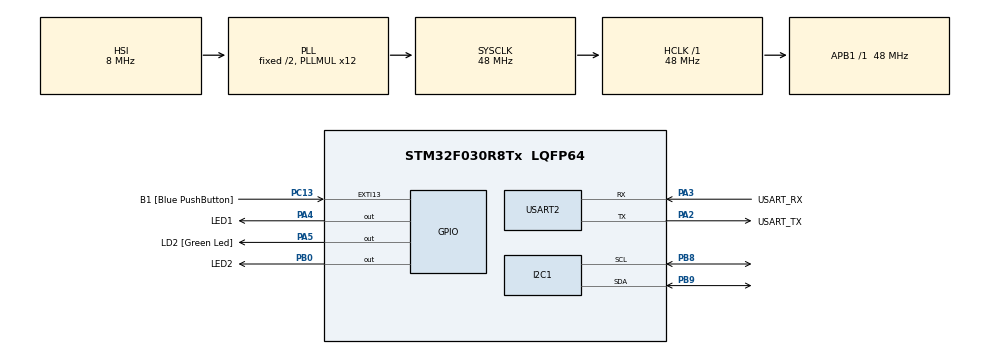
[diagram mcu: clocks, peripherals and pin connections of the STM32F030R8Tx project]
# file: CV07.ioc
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FREERTOS.Queues01=xVisualQueue,16,int16_t,0,Dynamic,NULL,NULL
FREERTOS.Tasks01=defaultTask,0,128,StartDefaultTask,Default,NULL,Dynamic,NULL,NULL;VisualTask,0,128,StartVisualTask,Default,NULL,Dynamic,NULL,NULL;AcceleroTask,0,128,StartAcceleroTask,Default,NULL,Dynamic,NULL,NULL
FREERTOS.configUSE_NEWLIB_REENTRANT=1
Mcu.Family=STM32F0
Mcu.Name=STM32F030R8Tx
Mcu.Package=LQFP64
NVIC.TIM14_IRQn=true\:3\:0\:false\:false\:true\:false\:false\:true\:true
NVIC.TimeBase=TIM14_IRQn
NVIC.TimeBaseIP=TIM14
PA13.GPIO_Label=TMS
PA13.Mode=Serial_Wire
PA13.Signal=SYS_SWDIO
PA14.GPIO_Label=TCK
PA14.Mode=Serial_Wire
PA14.Signal=SYS_SWCLK
PA2.GPIO_Label=USART_TX
PA2.GPIO_Mode=GPIO_MODE_AF_PP
PA2.GPIO_PuPd=GPIO_NOPULL
PA2.GPIO_Speed=GPIO_SPEED_FREQ_LOW
PA2.Mode=Asynchronous
PA2.Signal=USART2_TX
PA3.GPIO_Label=USART_RX
PA3.GPIO_Mode=GPIO_MODE_AF_PP
PA3.GPIO_PuPd=GPIO_NOPULL
PA3.GPIO_Speed=GPIO_SPEED_FREQ_LOW
PA3.Mode=Asynchronous
PA3.Signal=USART2_RX
PA4.GPIO_Label=LED1
PA4.Signal=GPIO_Output
PA5.GPIO_Label=LD2 [Green Led]
PA5.GPIO_Mode=GPIO_MODE_OUTPUT_PP
PA5.GPIO_PuPd=GPIO_NOPULL
PA5.GPIO_Speed=GPIO_SPEED_FREQ_LOW
PA5.Signal=GPIO_Output
PB0.GPIO_Label=LED2
PB0.Signal=GPIO_Output
PB8.Mode=I2C
PB8.Signal=I2C1_SCL
PB9.Mode=I2C
PB9.Signal=I2C1_SDA
PC13.GPIO_Label=B1 [Blue PushButton]
PC13.GPIO_ModeDefaultEXTI=GPIO_MODE_IT_FALLING
PC13.Signal=GPXTI13
PC14-OSC32_IN.Mode=LSE-External-Oscillator
PC14-OSC32_IN.Signal=RCC_OSC32_IN
PC15-OSC32_OUT.Mode=LSE-External-Oscillator
PC15-OSC32_OUT.Signal=RCC_OSC32_OUT
PF0-OSC_IN.Mode=HSE-External-Clock-Source
PF0-OSC_IN.Signal=RCC_OSC_IN
PF1-OSC_OUT.Signal=RCC_OSC_OUT
ProjectManager.HeapSize=0x200
ProjectManager.StackSize=0x400
ProjectManager.TargetToolchain=STM32CubeIDE
RCC.AHBFreq_Value=48000000
RCC.APB1Freq_Value=48000000
RCC.APB1TimFreq_Value=48000000
RCC.HCLKFreq_Value=48000000
RCC.PLLMUL=RCC_PLL_MUL12
RCC.SYSCLKFreq_VALUE=48000000
RCC.SYSCLKSource=RCC_SYSCLKSOURCE_PLLCLK
USART2.VirtualMode-Asynchronous=VM_ASYNC
VP_FREERTOS_VS_CMSIS_V1.Mode=CMSIS_V1
VP_SYS_VS_tim14.Mode=TIM14
board=NUCLEO-F030R8

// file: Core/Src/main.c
/* USER CODE BEGIN Header */
/**
  ******************************************************************************
  * @file           : main.c
  * @brief          : Main program body
  ******************************************************************************
  * @attention
  *
  * Copyright (c) 2022 STMicroelectronics.
  * All rights reserved.
  *
  * This software is licensed under terms that can be found in the LICENSE file
  * in the root directory of this software component.
  * If no LICENSE file comes with this software, it is provided AS-IS.
  *
  ******************************************************************************
  */
/* USER CODE END Header */
#include <lis2dw12_reg.h>
#include "main.h"
#include "cmsis_os.h"

/* USER CODE BEGIN Includes */
#include "lis2dw12_reg.h"
#include <stdio.h>

/* USER CODE END Includes */

/* USER CODE BEGIN PD */
#define UART_DELAY 1000
/* USER CODE END PD */

I2C_HandleTypeDef hi2c1;

UART_HandleTypeDef huart2;

osThreadId defaultTaskHandle;
osThreadId VisualTaskHandle;
osThreadId AcceleroTaskHandle;
osMessageQId xVisualQueueHandle;

void SystemClock_Config(void);
static void MX_GPIO_Init(void);
static void MX_USART2_UART_Init(void);
static void MX_I2C1_Init(void);
void StartDefaultTask(void const * argument);
void StartVisualTask(void const * argument);
void StartAcceleroTask(void const * argument);

/* USER CODE BEGIN 0 */
int _write(int file, char const *buf, int n) {
	/* stdout redirection to UART2 */
	HAL_UART_Transmit(&huart2, (uint8_t*) (buf), n, HAL_MAX_DELAY);
	return n;
}

static int32_t platform_write(void *handle, uint8_t reg, const uint8_t *bufp, uint16_t len);
static int32_t platform_read(void *handle, uint8_t reg, uint8_t *bufp, uint16_t len);
static stmdev_ctx_t lis2dw12 = {
 .write_reg = platform_write,
 .read_reg = platform_read,
 .handle = &hi2c1,
};

static int32_t platform_write(void *handle, uint8_t reg, const uint8_t *bufp, uint16_t len)
{
 HAL_I2C_Mem_Write(handle, LIS2DW12_I2C_ADD_H, reg, I2C_MEMADD_SIZE_8BIT, (uint8_t*)bufp, len, 1000);
 return 0;
}
static int32_t platform_read(void *handle, uint8_t reg, uint8_t *bufp, uint16_t len)
{
 HAL_I2C_Mem_Read(handle, LIS2DW12_I2C_ADD_H, reg, I2C_MEMADD_SIZE_8BIT, bufp, len, 1000);
 return 0;
}

/* USER CODE END 0 */

int main(void)
{

  /* MCU Configuration--------------------------------------------------------*/

  /* Reset of all peripherals, Initializes the Flash interface and the Systick. */
  HAL_Init();

  /* Configure the system clock */
  SystemClock_Config();

  /* Initialize all configured peripherals */
  MX_GPIO_Init();
  MX_USART2_UART_Init();
  MX_I2C1_Init();

  /* Create the queue(s) */
  /* definition and creation of xVisualQueue */
  osMessageQDef(xVisualQueue, 16, int16_t);
  xVisualQueueHandle = osMessageCreate(osMessageQ(xVisualQueue), NULL);

  /* Create the thread(s) */
  /* definition and creation of defaultTask */
  osThreadDef(defaultTask, StartDefaultTask, osPriorityNormal, 0, 128);
  defaultTaskHandle = osThreadCreate(osThread(defaultTask), NULL);

  /* definition and creation of VisualTask */
  osThreadDef(VisualTask, StartVisualTask, osPriorityNormal, 0, 128);
  VisualTaskHandle = osThreadCreate(osThread(VisualTask), NULL);

  /* definition and creation of AcceleroTask */
  osThreadDef(AcceleroTask, StartAcceleroTask, osPriorityNormal, 0, 128);
  AcceleroTaskHandle = osThreadCreate(osThread(AcceleroTask), NULL);

  /* Start scheduler */
  osKernelStart();

  /* We should never get here as control is now taken by the scheduler */
  /* Infinite loop */
  while (1)
  {

  }
}

void SystemClock_Config(void)
{
  RCC_OscInitTypeDef RCC_OscInitStruct = {0};
  RCC_ClkInitTypeDef RCC_ClkInitStruct = {0};
  RCC_PeriphCLKInitTypeDef PeriphClkInit = {0};

  /** Initializes the RCC Oscillators according to the specified parameters
  * in the RCC_OscInitTypeDef structure.
  */
  RCC_OscInitStruct.OscillatorType = RCC_OSCILLATORTYPE_HSI;
  RCC_OscInitStruct.HSIState = RCC_HSI_ON;
  RCC_OscInitStruct.HSICalibrationValue = RCC_HSICALIBRATION_DEFAULT;
  RCC_OscInitStruct.PLL.PLLState = RCC_PLL_ON;
  RCC_OscInitStruct.PLL.PLLSource = RCC_PLLSOURCE_HSI;
  RCC_OscInitStruct.PLL.PLLMUL = RCC_PLL_MUL12;
  RCC_OscInitStruct.PLL.PREDIV = RCC_PREDIV_DIV1;
  if (HAL_RCC_OscConfig(&RCC_OscInitStruct) != HAL_OK)
  {
    Error_Handler();
  }

  /** Initializes the CPU, AHB and APB buses clocks
  */
  RCC_ClkInitStruct.ClockType = RCC_CLOCKTYPE_HCLK|RCC_CLOCKTYPE_SYSCLK
                              |RCC_CLOCKTYPE_PCLK1;
  RCC_ClkInitStruct.SYSCLKSource = RCC_SYSCLKSOURCE_PLLCLK;
  RCC_ClkInitStruct.AHBCLKDivider = RCC_SYSCLK_DIV1;
  RCC_ClkInitStruct.APB1CLKDivider = RCC_HCLK_DIV1;

  if (HAL_RCC_ClockConfig(&RCC_ClkInitStruct, FLASH_LATENCY_1) != HAL_OK)
  {
    Error_Handler();
  }
  PeriphClkInit.PeriphClockSelection = RCC_PERIPHCLK_I2C1;
  PeriphClkInit.I2c1ClockSelection = RCC_I2C1CLKSOURCE_HSI;
  if (HAL_RCCEx_PeriphCLKConfig(&PeriphClkInit) != HAL_OK)
  {
    Error_Handler();
  }
}

static void MX_I2C1_Init(void)
{

  hi2c1.Instance = I2C1;
  hi2c1.Init.Timing = 0x2000090E;
  hi2c1.Init.OwnAddress1 = 0;
  hi2c1.Init.AddressingMode = I2C_ADDRESSINGMODE_7BIT;
  hi2c1.Init.DualAddressMode = I2C_DUALADDRESS_DISABLE;
  hi2c1.Init.OwnAddress2 = 0;
  hi2c1.Init.OwnAddress2Masks = I2C_OA2_NOMASK;
  hi2c1.Init.GeneralCallMode = I2C_GENERALCALL_DISABLE;
  hi2c1.Init.NoStretchMode = I2C_NOSTRETCH_DISABLE;
  if (HAL_I2C_Init(&hi2c1) != HAL_OK)
  {
    Error_Handler();
  }

  /** Configure Analogue filter
  */
  if (HAL_I2CEx_ConfigAnalogFilter(&hi2c1, I2C_ANALOGFILTER_ENABLE) != HAL_OK)
  {
    Error_Handler();
  }

  /** Configure Digital filter
  */
  if (HAL_I2CEx_ConfigDigitalFilter(&hi2c1, 0) != HAL_OK)
  {
    Error_Handler();
  }

}

static void MX_USART2_UART_Init(void)
{

  huart2.Instance = USART2;
  huart2.Init.BaudRate = 38400;
  huart2.Init.WordLength = UART_WORDLENGTH_8B;
  huart2.Init.StopBits = UART_STOPBITS_1;
  huart2.Init.Parity = UART_PARITY_NONE;
  huart2.Init.Mode = UART_MODE_TX_RX;
  huart2.Init.HwFlowCtl = UART_HWCONTROL_NONE;
  huart2.Init.OverSampling = UART_OVERSAMPLING_16;
  huart2.Init.OneBitSampling = UART_ONE_BIT_SAMPLE_DISABLE;
  huart2.AdvancedInit.AdvFeatureInit = UART_ADVFEATURE_NO_INIT;
  if (HAL_UART_Init(&huart2) != HAL_OK)
  {
    Error_Handler();
  }

}

static void MX_GPIO_Init(void)
{
  GPIO_InitTypeDef GPIO_InitStruct = {0};

  /* GPIO Ports Clock Enable */
  __HAL_RCC_GPIOC_CLK_ENABLE();
  __HAL_RCC_GPIOF_CLK_ENABLE();
  __HAL_RCC_GPIOA_CLK_ENABLE();
  __HAL_RCC_GPIOB_CLK_ENABLE();

  /*Configure GPIO pin Output Level */
  HAL_GPIO_WritePin(GPIOA, GPIO_PIN_4|GPIO_PIN_5, GPIO_PIN_RESET);

  /*Configure GPIO pin Output Level */
  HAL_GPIO_WritePin(GPIOB, GPIO_PIN_0, GPIO_PIN_RESET);

  /*Configure GPIO pin : PC13 */
  GPIO_InitStruct.Pin = GPIO_PIN_13;
  GPIO_InitStruct.Mode = GPIO_MODE_IT_FALLING;
  GPIO_InitStruct.Pull = GPIO_NOPULL;
  HAL_GPIO_Init(GPIOC, &GPIO_InitStruct);

  /*Configure GPIO pins : PA4 PA5 */
  GPIO_InitStruct.Pin = GPIO_PIN_4|GPIO_PIN_5;
  GPIO_InitStruct.Mode = GPIO_MODE_OUTPUT_PP;
  GPIO_InitStruct.Pull = GPIO_NOPULL;
  GPIO_InitStruct.Speed = GPIO_SPEED_FREQ_LOW;
  HAL_GPIO_Init(GPIOA, &GPIO_InitStruct);

  /*Configure GPIO pin : PB0 */
  GPIO_InitStruct.Pin = GPIO_PIN_0;
  GPIO_InitStruct.Mode = GPIO_MODE_OUTPUT_PP;
  GPIO_InitStruct.Pull = GPIO_NOPULL;
  GPIO_InitStruct.Speed = GPIO_SPEED_FREQ_LOW;
  HAL_GPIO_Init(GPIOB, &GPIO_InitStruct);

}

void StartDefaultTask(void const *argument) {
	/* USER CODE BEGIN 5 */
	/* Infinite loop */
	for (;;) {

	/*	msg = -5000;
		xQueueSend(xVisualQueueHandle, &msg, 0);
		osDelay(300);

		msg = 0;
		xQueueSend(xVisualQueueHandle, &msg, 0);
		osDelay(300);

		msg = 5000;
		xQueueSend(xVisualQueueHandle, &msg, 0);
		osDelay(300);

		msg = 0;
		xQueueSend(xVisualQueueHandle, &msg, 0);
		osDelay(300);
*/
	/*	const uint16_t msg[4] = {-5000, 0, 5000, 0};

		for (uint8_t i = 0; i < 4; i++) {  // kratke cekani
		xQueueSend(xVisualQueueHandle, &msg[i], 0);
		osDelay(300);
		} */
	}
	/* USER CODE END 5 */
}

void StartVisualTask(void const *argument) {
	/* USER CODE BEGIN StartVisualTask */
	/* Infinite loop */

	for(;;){

		int16_t msg;
		if (xQueueReceive(xVisualQueueHandle, &msg, portMAX_DELAY)) {
			if (msg <= -1000) {
				HAL_GPIO_WritePin(LED1_GPIO_Port, LED1_Pin, 1);
				HAL_GPIO_WritePin(LED2_GPIO_Port, LED2_Pin, 0);
			}

			else if (msg >= 1000) {
			    HAL_GPIO_WritePin(LED1_GPIO_Port, LED1_Pin, 0);
			    HAL_GPIO_WritePin(LED2_GPIO_Port, LED2_Pin, 1);
			}

			else {
			    HAL_GPIO_WritePin(LED1_GPIO_Port, LED1_Pin, 0);
			    HAL_GPIO_WritePin(LED2_GPIO_Port, LED2_Pin, 0);
			}
		}

		osDelay(1);
	}
	/* USER CODE END StartVisualTask */
}

void StartAcceleroTask(void const * argument)
{
  /* USER CODE BEGIN StartAcceleroTask */

	// Check device ID
	uint8_t whoamI = 0;
	lis2dw12_device_id_get(&lis2dw12, &whoamI);
	printf("LIS2DW12_ID %s\n", (whoamI == LIS2DW12_ID) ? "OK" : "FAIL");

	lis2dw12_full_scale_set(&lis2dw12, LIS2DW12_2g);
	lis2dw12_power_mode_set(&lis2dw12, LIS2DW12_CONT_LOW_PWR_LOW_NOISE_2);
	lis2dw12_block_data_update_set(&lis2dw12, PROPERTY_ENABLE);
	lis2dw12_fifo_mode_set(&lis2dw12, LIS2DW12_STREAM_MODE); // enable continuous FIFO
	lis2dw12_data_rate_set(&lis2dw12, LIS2DW12_XL_ODR_25Hz); // enable part from power-down

  /* Infinite loop */
	for (;;) {
		uint8_t samples;
		int16_t raw_acceleration[3];
		lis2dw12_fifo_data_level_get(&lis2dw12, &samples);
		static uint32_t LastTicks = 0;
		for (uint8_t i = 0; i < samples; i++) {
			// Read acceleration data
			lis2dw12_acceleration_raw_get(&lis2dw12, raw_acceleration);

		}
		if (xTaskGetTickCount() >= LastTicks + UART_DELAY) {
			LastTicks = xTaskGetTickCount();
			printf("X=%d Y=%d Z=%d\n", raw_acceleration[0], raw_acceleration[1], raw_acceleration[2]);
		}
		xQueueSend(xVisualQueueHandle, &raw_acceleration[0], 0); // posilani dat do queue
		osDelay(50);
	}

  /* USER CODE END StartAcceleroTask */
}

void HAL_TIM_PeriodElapsedCallback(TIM_HandleTypeDef *htim)
{
  if (htim->Instance == TIM14) {
    HAL_IncTick();
  }
}

void Error_Handler(void)
{
  __disable_irq();
  while (1)
  {
  }
}
